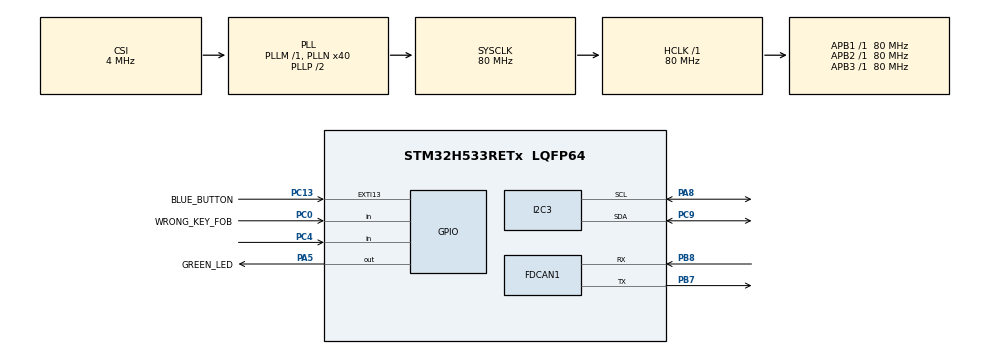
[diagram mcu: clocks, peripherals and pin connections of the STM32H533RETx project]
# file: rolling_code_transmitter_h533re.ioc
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BOOTPATH.BootPathName=LEGACY
BOOTPATH.UserSelectedBootPath=LEGACY
CORTEX_M33_NS.userName=CORTEX_M33
FDCAN1.CalculateBaudRateNominal=33333
FDCAN1.CalculateTimeBitNominal=30000
FDCAN1.CalculateTimeQuantumNominal=1500.0
FDCAN1.ClockDivider=FDCAN_CLOCK_DIV8
FDCAN1.DataPrescaler=15
FDCAN1.DataSyncJumpWidth=3
FDCAN1.DataTimeSeg1=16
FDCAN1.DataTimeSeg2=3
FDCAN1.FrameFormat=FDCAN_FRAME_FD_NO_BRS
FDCAN1.NominalPrescaler=15
FDCAN1.NominalSyncJumpWidth=3
FDCAN1.NominalTimeSeg1=16
FDCAN1.NominalTimeSeg2=3
HASH.Algorithm=HASH_ALGOSELECTION_SHA256
HASH.pKey=__NULL
I2C3.Timing=0x10909CEC
Mcu.Family=STM32H5
Mcu.Name=STM32H533RETx
Mcu.Package=LQFP64
NUCLEO-H533RE.Bsp_Common_DEMO=true
NUCLEO-H533RE.VCP=true
NVIC.EXTI13_IRQn=true\:0\:0\:false\:false\:true\:true\:true\:true
NVIC.PriorityGroup=NVIC_PRIORITYGROUP_4
PA13(JTMS/SWDIO).GPIO_Label=SWDIO
PA13(JTMS/SWDIO).Signal=DEBUG_JTMS-SWDIO
PA14(JTCK/SWCLK).GPIO_Label=SWCLK
PA14(JTCK/SWCLK).Signal=DEBUG_JTCK-SWCLK
PA15(JTDI).GPIO_Label=JTDI
PA15(JTDI).Signal=DEBUG_JTDI
PA2.Signal=USART2_TX
PA3.Signal=USART2_RX
PA5.GPIO_Label=GREEN_LED
PA5.Signal=GPIO_Output
PA8.Mode=I2C
PA8.Signal=I2C3_SCL
PB3(JTDO/TRACESWO).GPIO_Label=SWO
PB3(JTDO/TRACESWO).Signal=DEBUG_JTDO-SWO
PB7.Mode=FDCAN_Activate
PB7.Signal=FDCAN1_TX
PB8.Mode=FDCAN_Activate
PB8.Signal=FDCAN1_RX
PC0.GPIO_Label=WRONG_KEY_FOB
PC0.GPIO_PuPd=GPIO_PULLUP
PC0.Signal=GPIO_Input
PC13.GPIO_Label=BLUE_BUTTON
PC13.GPIO_PuPd=GPIO_PULLDOWN
PC13.Signal=GPXTI13
PC4.Signal=GPIO_Input
PC9.Mode=I2C
PC9.Signal=I2C3_SDA
ProjectManager.HeapSize=0x200
ProjectManager.StackSize=0x400
ProjectManager.TargetToolchain=STM32CubeIDE
RCC.ADCFreq_Value=80000000
RCC.AHBFreq_Value=80000000
RCC.APB1Freq_Value=80000000
RCC.APB1TimFreq_Value=80000000
RCC.APB2Freq_Value=80000000
RCC.APB2TimFreq_Value=80000000
RCC.APB3Freq_Value=80000000
RCC.CSI_VALUE=4000000
RCC.CortexFreq_Value=80000000
RCC.EPOD_VALUE=4000000
RCC.FDCANClockSelection=RCC_FDCANCLKSOURCE_PLL1Q
RCC.HCLKFreq_Value=80000000
RCC.HSE_VALUE=25000000
RCC.HSI48_VALUE=48000000
RCC.HSI_VALUE=64000000
RCC.LSE_VALUE=32768
RCC.LSIRC_VALUE=32000
RCC.PLL2FRACN=0
RCC.PLL3FRACN=0
RCC.PLLFRACN=0
RCC.PLLN=40
RCC.SYSCLKFreq_VALUE=80000000
RCC.SYSCLKSource=RCC_SYSCLKSOURCE_PLLCLK
RCC.USBFreq_Value=48000000
RCC.VCOOutputFreq_Value=160000000
VP_BOOTPATH_VS_BOOTPATH.Mode=BP_Activate
VP_CORTEX_M33_NS_VS_Hclk.Mode=Hclk_Mode
VP_HASH_VS_HASH.Mode=HASH_Activate
VP_ICACHE_VS_ICACHE.Mode=DirectMappedCache
VP_MEMORYMAP_VS_MEMORYMAP.Mode=CurAppReg
VP_NUCLEO-H533RE_VS_BSP_COMMON.Mode=COMMON
VP_PWR_VS_LPOM.Mode=PowerOptimisation
VP_PWR_VS_SECSignals.Mode=Security/Privilege
board=NUCLEO-H533RE

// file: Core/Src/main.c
/* USER CODE BEGIN Header */
/**
 ******************************************************************************
 * @file           : main.c
 * @brief          : Main program body
 ******************************************************************************
 * @attention
 *
 * Copyright (c) 2025 STMicroelectronics.
 * All rights reserved.
 *
 * This software is licensed under terms that can be found in the LICENSE file
 * in the root directory of this software component.
 * If no LICENSE file comes with this software, it is provided AS-IS.
 *
 ******************************************************************************
 */
/* USER CODE END Header */
#include "main.h"
#include "fdcan.h"
#include "hash.h"
#include "i2c.h"
#include "icache.h"
#include "gpio.h"

/* USER CODE BEGIN Includes */
#include "ssd1306.h"
/* USER CODE END Includes */

/* USER CODE BEGIN PD */
#define TRANSMITTER_SERIAL_NUMBER 0xDEADC0DE // 4-byte
#define SECRET_KEY 0xDEADBEEF  // 4-byte
#define ACTION_CODE 0xAC  // 1-byte
/* USER CODE END PD */

COM_InitTypeDef BspCOMInit;
__IO uint32_t BspButtonState = BUTTON_RELEASED;

/* USER CODE BEGIN PV */
uint32_t rolling_counter_tx = 0;
uint8_t button_pressed_flag = 0;

FDCAN_TxHeaderTypeDef txHeader;

union
{
	uint8_t Bytes[16];
	uint32_t Words[4];
} txData; // CAN FD payload: 4-byte serial number, 11-byte hash of secret key appended with a counter, 1-byte action code

union
{
	uint8_t Bytes[12];
	uint32_t Words[3];
} dataToBeHashed;

uint8_t SHA256Digest[32];

char lcd_line[32];
/* USER CODE END PV */

void SystemClock_Config(void);

int main(void)
{

	/* MCU Configuration--------------------------------------------------------*/

	/* Reset of all peripherals, Initializes the Flash interface and the Systick. */
	HAL_Init();

	/* Configure the system clock */
	SystemClock_Config();

	/* Initialize all configured peripherals */
	MX_GPIO_Init();
	MX_ICACHE_Init();
	MX_FDCAN1_Init();
	MX_I2C3_Init();
	MX_HASH_Init();
	/* USER CODE BEGIN 2 */

	ssd1306_Init();
	ssd1306_Fill(Black);
	ssd1306_SetCursor(20, 0);
	ssd1306_WriteString("ufnalski.edu.pl", Font_6x8, White);
	ssd1306_SetCursor(20, 12);
	ssd1306_WriteString("Rolling code TX", Font_6x8, White);
	ssd1306_UpdateScreen();

	dataToBeHashed.Words[0] = SECRET_KEY;

	if (HAL_FDCAN_Start(&hfdcan1) != HAL_OK)
	{
		Error_Handler();
	}

	txHeader.IdType = FDCAN_STANDARD_ID;
	txHeader.TxFrameType = FDCAN_DATA_FRAME;
	txHeader.ErrorStateIndicator = FDCAN_ESI_ACTIVE;
	txHeader.BitRateSwitch = FDCAN_BRS_OFF;
	txHeader.FDFormat = FDCAN_FD_CAN;
	txHeader.TxEventFifoControl = FDCAN_NO_TX_EVENTS;
	txHeader.MessageMarker = 0;

	/* USER CODE END 2 */

	/* Initialize COM1 port (115200, 8 bits (7-bit data + 1 stop bit), no parity */
	BspCOMInit.BaudRate = 115200;
	BspCOMInit.WordLength = COM_WORDLENGTH_8B;
	BspCOMInit.StopBits = COM_STOPBITS_1;
	BspCOMInit.Parity = COM_PARITY_NONE;
	BspCOMInit.HwFlowCtl = COM_HWCONTROL_NONE;
	if (BSP_COM_Init(COM1, &BspCOMInit) != BSP_ERROR_NONE)
	{
		Error_Handler();
	}

	/* USER CODE BEGIN BSP */

	/* -- Sample board code to send message over COM1 port ---- */
	printf("\r\nWelcome to KeeLoq world of rolling/hopping codes!\r\n");

	/* USER CODE END BSP */

	/* Infinite loop */
	/* USER CODE BEGIN WHILE */
	while (1)
	{

		if (button_pressed_flag == 1)
		{
			HAL_Delay(50);  // primitive button debounce
			button_pressed_flag = 0;

			if (HAL_GPIO_ReadPin(WRONG_KEY_FOB_GPIO_Port, WRONG_KEY_FOB_Pin)
					== GPIO_PIN_RESET)
			{
				txData.Words[0] = TRANSMITTER_SERIAL_NUMBER;
			}
			else
			{
				txData.Words[0] = TRANSMITTER_SERIAL_NUMBER + 1; // emulates wrong key fob
			}

			dataToBeHashed.Words[1] = rolling_counter_tx;
			HAL_HASH_Start(&hhash, dataToBeHashed.Bytes, 8, SHA256Digest, 100);

			for (uint8_t i = 0; i < 11; i++)
			{
				txData.Bytes[i + 4] = SHA256Digest[i];
			}

			txData.Bytes[15] = ACTION_CODE;

			txHeader.DataLength = FDCAN_DLC_BYTES_16;  // in FDCAN we can go beyond 8 bytes
			txHeader.Identifier = 0x101;

			if (HAL_FDCAN_AddMessageToTxFifoQ(&hfdcan1, &txHeader, txData.Bytes)
					!= HAL_OK)
			{
				Error_Handler();
			}

			if (HAL_GPIO_ReadPin(WRONG_KEY_FOB_GPIO_Port, WRONG_KEY_FOB_Pin)
					== GPIO_PIN_RESET)
			{
				rolling_counter_tx++;
			}

			sprintf(lcd_line, "TX CNT: %lu", rolling_counter_tx);
			ssd1306_SetCursor(2, 24);
			ssd1306_WriteString(lcd_line, Font_6x8, White);

			sprintf(lcd_line, "TX: %08lX %08lX", txData.Words[0],
					txData.Words[1]);
			ssd1306_SetCursor(2, 36);
			ssd1306_WriteString(lcd_line, Font_6x8, White);

			sprintf(lcd_line, "   %08lX %02lX %06lX", txData.Words[2],
					(txData.Words[3] & 0xFF000000) >> 24,
					txData.Words[3] & 0x00FFFFFF);
			ssd1306_SetCursor(2, 48);
			ssd1306_WriteString(lcd_line, Font_6x8, White);

			ssd1306_UpdateScreen();

		}
		/* USER CODE END WHILE */

	}
}

void SystemClock_Config(void)
{
	RCC_OscInitTypeDef RCC_OscInitStruct =
	{ 0 };
	RCC_ClkInitTypeDef RCC_ClkInitStruct =
	{ 0 };

	/** Configure the main internal regulator output voltage
	 */
	__HAL_PWR_VOLTAGESCALING_CONFIG(PWR_REGULATOR_VOLTAGE_SCALE3);

	while (!__HAL_PWR_GET_FLAG(PWR_FLAG_VOSRDY))
	{
	}

	/** Initializes the RCC Oscillators according to the specified parameters
	 * in the RCC_OscInitTypeDef structure.
	 */
	RCC_OscInitStruct.OscillatorType = RCC_OSCILLATORTYPE_CSI;
	RCC_OscInitStruct.CSIState = RCC_CSI_ON;
	RCC_OscInitStruct.CSICalibrationValue = RCC_CSICALIBRATION_DEFAULT;
	RCC_OscInitStruct.PLL.PLLState = RCC_PLL_ON;
	RCC_OscInitStruct.PLL.PLLSource = RCC_PLL1_SOURCE_CSI;
	RCC_OscInitStruct.PLL.PLLM = 1;
	RCC_OscInitStruct.PLL.PLLN = 40;
	RCC_OscInitStruct.PLL.PLLP = 2;
	RCC_OscInitStruct.PLL.PLLQ = 2;
	RCC_OscInitStruct.PLL.PLLR = 2;
	RCC_OscInitStruct.PLL.PLLRGE = RCC_PLL1_VCIRANGE_2;
	RCC_OscInitStruct.PLL.PLLVCOSEL = RCC_PLL1_VCORANGE_WIDE;
	RCC_OscInitStruct.PLL.PLLFRACN = 0;
	if (HAL_RCC_OscConfig(&RCC_OscInitStruct) != HAL_OK)
	{
		Error_Handler();
	}

	/** Initializes the CPU, AHB and APB buses clocks
	 */
	RCC_ClkInitStruct.ClockType = RCC_CLOCKTYPE_HCLK | RCC_CLOCKTYPE_SYSCLK
			| RCC_CLOCKTYPE_PCLK1 | RCC_CLOCKTYPE_PCLK2 | RCC_CLOCKTYPE_PCLK3;
	RCC_ClkInitStruct.SYSCLKSource = RCC_SYSCLKSOURCE_PLLCLK;
	RCC_ClkInitStruct.AHBCLKDivider = RCC_SYSCLK_DIV1;
	RCC_ClkInitStruct.APB1CLKDivider = RCC_HCLK_DIV1;
	RCC_ClkInitStruct.APB2CLKDivider = RCC_HCLK_DIV1;
	RCC_ClkInitStruct.APB3CLKDivider = RCC_HCLK_DIV1;

	if (HAL_RCC_ClockConfig(&RCC_ClkInitStruct, FLASH_LATENCY_3) != HAL_OK)
	{
		Error_Handler();
	}

	/** Configure the programming delay
	 */
	__HAL_FLASH_SET_PROGRAM_DELAY(FLASH_PROGRAMMING_DELAY_1);
}

/* USER CODE BEGIN 4 */

void HAL_GPIO_EXTI_Rising_Callback(uint16_t GPIO_Pin)
{
	if (GPIO_Pin == BLUE_BUTTON_Pin)
	{
		button_pressed_flag = 1;
	}
}

/* USER CODE END 4 */

void Error_Handler(void)
{
	__disable_irq();
	while (1)
	{
	}
}
